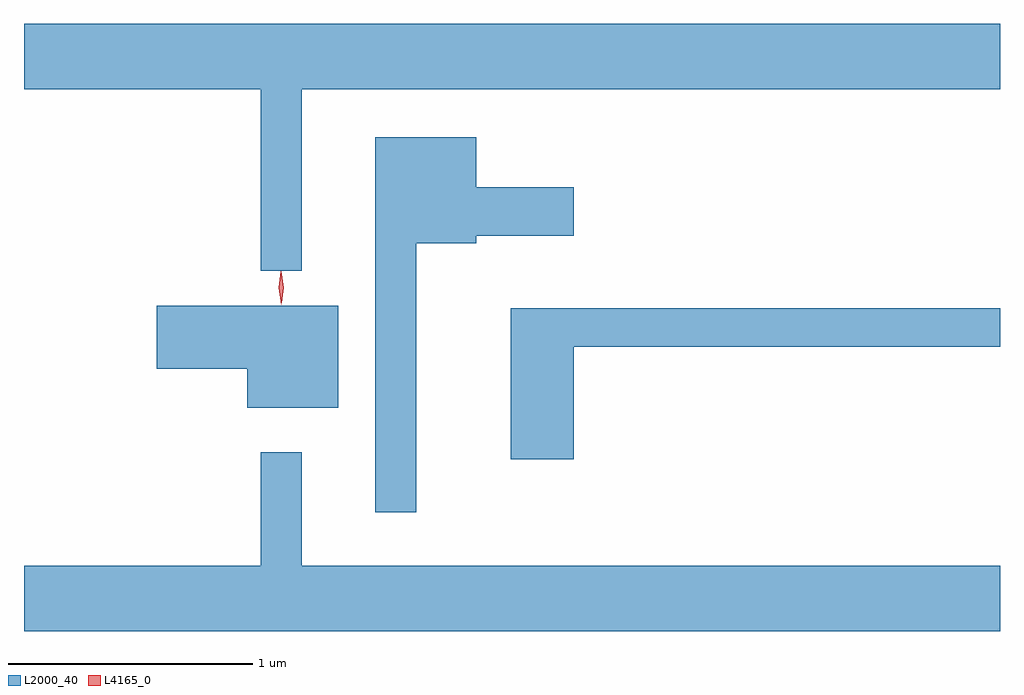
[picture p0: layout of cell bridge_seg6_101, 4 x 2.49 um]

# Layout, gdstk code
import gdstk
lib = gdstk.Library(unit=1e-6, precision=1e-09)
def P(c, l, *ps):  # polygons
    for p in ps: c.add(gdstk.Polygon(p, *l))
L2000_40 = (2000, 40)
L4165_0 = (4165, 0)

bridge_seg6_101 = lib.new_cell('bridge_seg6_101')
P(bridge_seg6_101, L2000_40, [(1125.719,1643.276),(1128.581,1643.276),(1128.581,1643.544),(1124.581,1643.544),(1124.581,1643.276),(1125.551,1643.276),(1125.551,1642.533),(1125.719,1642.533)],
  [(1126.189,1642.646),(1126.434,1642.646),(1126.434,1642.676),(1126.834,1642.676),(1126.834,1642.874),(1126.434,1642.874),(1126.434,1643.079),(1126.021,1643.079),(1126.021,1641.543),(1126.189,1641.543)],
  [(1125.869,1642.389),(1125.126,1642.389),(1125.126,1642.131),(1125.496,1642.131),(1125.496,1641.971),(1125.869,1641.971)],
  [(1126.834,1642.221),(1128.581,1642.221),(1128.581,1642.379),(1126.576,1642.379),(1126.576,1641.761),(1126.834,1641.761)],
  [(1128.581,1641.324),(1125.719,1641.324),(1125.719,1641.788),(1125.551,1641.788),(1125.551,1641.324),(1124.581,1641.324),(1124.581,1641.056),(1128.581,1641.056)])
P(bridge_seg6_101, L4165_0, [(1125.635,1642.394),(1125.626,1642.462),(1125.634,1642.53),(1125.635,1642.53),(1125.636,1642.53),(1125.645,1642.462),(1125.636,1642.394),(1125.636,1642.394)],
  [(1125.636,1642.4),(1125.636,1642.401),(1125.626,1642.463),(1125.634,1642.526),(1125.635,1642.527),(1125.636,1642.526),(1125.646,1642.464),(1125.637,1642.401)])

lib.write_gds('bridge_seg6_101.gds')
